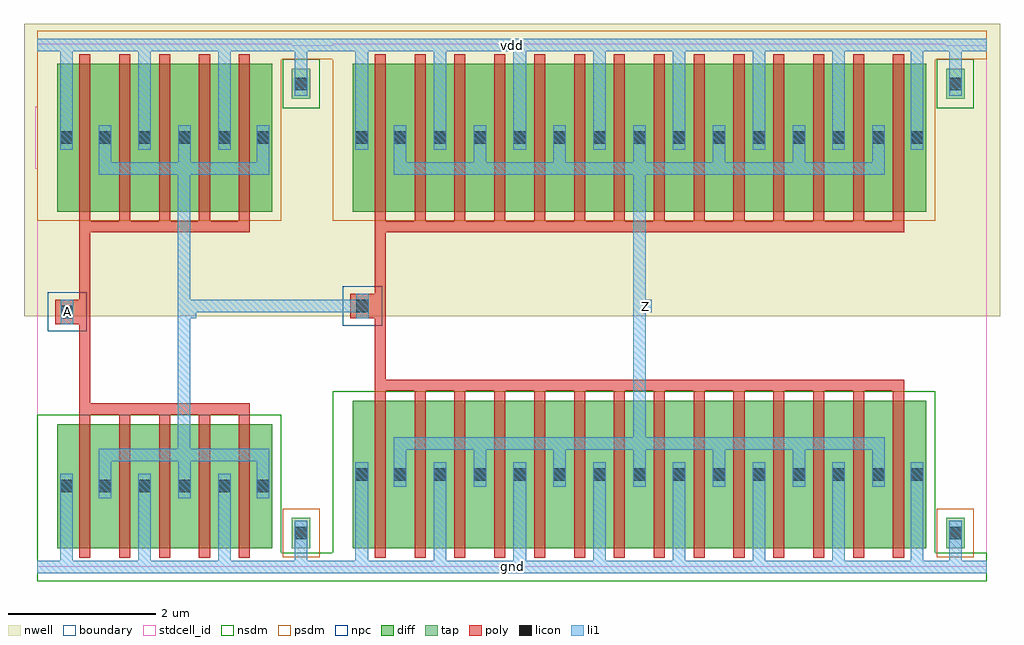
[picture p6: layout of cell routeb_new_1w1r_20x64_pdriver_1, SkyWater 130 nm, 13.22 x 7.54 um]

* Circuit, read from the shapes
.subckt routeb_new_1w1r_20x64_pdriver_1 A Z gnd vdd
XM1 routeb_new_1w1r_20x64_pinv_10_1/A A gnd gnd sky130_fd_pr__nfet_01v8 w=1.68 l=0.15 m=5
XM2 Z routeb_new_1w1r_20x64_pinv_10_1/A gnd gnd sky130_fd_pr__nfet_01v8 w=2 l=0.15 m=14
XM3 routeb_new_1w1r_20x64_pinv_10_1/A A vdd vdd sky130_fd_pr__pfet_01v8 w=2 l=0.15 m=5
XM4 Z routeb_new_1w1r_20x64_pinv_10_1/A vdd vdd sky130_fd_pr__pfet_01v8 w=2 l=0.15 m=14
.ends

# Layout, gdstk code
import gdstk
lib = gdstk.Library(unit=1e-6, precision=1e-09)
def R(c, l, rs):  # rectangles x0, y0, x1, y1
    for r in rs: c.add(gdstk.rectangle(r[:2], r[2:], *l))
def A(c, l, x, y, w, h, nx, ny, dx, dy):  # array of equal rectangles
    R(c, l, [(x+i*dx, y+j*dy, x+i*dx+w, y+j*dy+h) for i in range(nx) for j in range(ny)])
nwell = (64, 20)
diff = (65, 20)
tap = (65, 44)
poly = (66, 20)
licon = (66, 44)
li1 = (67, 20)
stdcell_id = (81, 4)
nsdm = (93, 44)
psdm = (94, 20)
npc = (95, 20)
boundary = (235, 4)

routeb_new_1w1r_20x64_co = lib.new_cell('routeb_new_1w1r_20x64_contact_11')
R(routeb_new_1w1r_20x64_co, nwell, [(-0.295,-0.255,0.545,0.585)])
R(routeb_new_1w1r_20x64_co, diff, [(0,0.02,0.25,0.31)])
R(routeb_new_1w1r_20x64_co, licon, [(0.04,0.08,0.21,0.25)])
R(routeb_new_1w1r_20x64_co, li1, [(0.04,0,0.21,0.33)])
R(routeb_new_1w1r_20x64_co, stdcell_id, [(-0.295,-0.255,0.545,0.585)])
R(routeb_new_1w1r_20x64_co, psdm, [(-0.125,-0.105,0.375,0.435)])
R(routeb_new_1w1r_20x64_co, boundary, [(-0.295,-0.255,0.545,0.585)])

routeb_new_1w1r_20x64_pm = lib.new_cell('routeb_new_1w1r_20x64_pmos_m5_w2_000_sli_dli_da_p')
R(routeb_new_1w1r_20x64_pm, nwell, [(-0.27,-0.27,3.18,2.27)])
R(routeb_new_1w1r_20x64_pm, diff, [(0,0,2.91,2)])
A(routeb_new_1w1r_20x64_pm, poly, 0.3, -0.13, 0.15, 2.26, 5, 1, 0.54, 0)
R(routeb_new_1w1r_20x64_pm, poly, [(0.3,-0.28,2.61,-0.13)])
R(routeb_new_1w1r_20x64_pm, li1, [(0.56,0.495,2.87,0.665), (0.56,0.58,0.73,1), (1.64,0.58,1.81,1), (2.7,0.58,2.87,1), (0.04,0.835,0.21,1.165), (1.1,0.835,1.27,1.165), (2.18,0.835,2.35,1.165)])
R(routeb_new_1w1r_20x64_pm, stdcell_id, [(-0.27,-0.28,3.18,2.27)])
R(routeb_new_1w1r_20x64_pm, psdm, [(-0.125,-0.125,3.035,2.125)])
R(routeb_new_1w1r_20x64_pm, boundary, [(-0.27,-0.28,3.18,2.27)])
routeb_new_1w1r_20x64_pm.add(gdstk.Reference(routeb_new_1w1r_20x64_co, (0,0.835)))
routeb_new_1w1r_20x64_pm.add(gdstk.Reference(routeb_new_1w1r_20x64_co, (0.52,0.835)))
routeb_new_1w1r_20x64_pm.add(gdstk.Reference(routeb_new_1w1r_20x64_co, (1.06,0.835)))
routeb_new_1w1r_20x64_pm.add(gdstk.Reference(routeb_new_1w1r_20x64_co, (1.6,0.835)))
routeb_new_1w1r_20x64_pm.add(gdstk.Reference(routeb_new_1w1r_20x64_co, (2.14,0.835)))
routeb_new_1w1r_20x64_pm.add(gdstk.Reference(routeb_new_1w1r_20x64_co, (2.66,0.835)))
routeb_new_1w1r_20x64_pm.add(gdstk.Label('G', (1.455,-0.205), layer=66, texttype=5))
routeb_new_1w1r_20x64_pm.add(gdstk.Label('S', (1.185,1), layer=67, texttype=5))
routeb_new_1w1r_20x64_pm.add(gdstk.Label('S', (0.125,1), layer=67, texttype=5))
routeb_new_1w1r_20x64_pm.add(gdstk.Label('S', (2.265,1), layer=67, texttype=5))
routeb_new_1w1r_20x64_pm.add(gdstk.Label('D', (1.715,0.58), layer=67, texttype=5))

c_routeb_new_1w1r_20x64_co = lib.new_cell('routeb_new_1w1r_20x64_contact_10')
R(c_routeb_new_1w1r_20x64_co, diff, [(0,0.02,0.25,0.31)])
R(c_routeb_new_1w1r_20x64_co, licon, [(0.04,0.08,0.21,0.25)])
R(c_routeb_new_1w1r_20x64_co, li1, [(0.04,0,0.21,0.33)])
R(c_routeb_new_1w1r_20x64_co, stdcell_id, [(-0.125,-0.105,0.375,0.435)])
R(c_routeb_new_1w1r_20x64_co, nsdm, [(-0.125,-0.105,0.375,0.435)])
R(c_routeb_new_1w1r_20x64_co, boundary, [(-0.125,-0.105,0.375,0.435)])

routeb_new_1w1r_20x64_nm = lib.new_cell('routeb_new_1w1r_20x64_nmos_m5_w1_680_sli_dli_da_p')
R(routeb_new_1w1r_20x64_nm, diff, [(0,0,2.91,1.68)])
A(routeb_new_1w1r_20x64_nm, poly, 0.3, -0.13, 0.15, 1.94, 5, 1, 0.54, 0)
R(routeb_new_1w1r_20x64_nm, poly, [(0.3,1.81,2.61,1.96)])
R(routeb_new_1w1r_20x64_nm, li1, [(0.04,0.675,0.21,1.005), (1.1,0.675,1.27,1.005), (2.18,0.675,2.35,1.005), (0.56,0.84,0.73,1.26), (1.64,0.84,1.81,1.26), (2.7,0.84,2.87,1.26), (0.56,1.175,2.87,1.345)])
R(routeb_new_1w1r_20x64_nm, stdcell_id, [(-0.125,-0.13,3.035,1.96)])
R(routeb_new_1w1r_20x64_nm, nsdm, [(-0.125,-0.125,3.035,1.805)])
R(routeb_new_1w1r_20x64_nm, boundary, [(-0.125,-0.13,3.035,1.96)])
routeb_new_1w1r_20x64_nm.add(gdstk.Reference(c_routeb_new_1w1r_20x64_co, (0,0.675)))
routeb_new_1w1r_20x64_nm.add(gdstk.Reference(c_routeb_new_1w1r_20x64_co, (0.52,0.675)))
routeb_new_1w1r_20x64_nm.add(gdstk.Reference(c_routeb_new_1w1r_20x64_co, (1.06,0.675)))
routeb_new_1w1r_20x64_nm.add(gdstk.Reference(c_routeb_new_1w1r_20x64_co, (1.6,0.675)))
routeb_new_1w1r_20x64_nm.add(gdstk.Reference(c_routeb_new_1w1r_20x64_co, (2.14,0.675)))
routeb_new_1w1r_20x64_nm.add(gdstk.Reference(c_routeb_new_1w1r_20x64_co, (2.66,0.675)))
routeb_new_1w1r_20x64_nm.add(gdstk.Label('G', (1.455,1.885), layer=66, texttype=5))
routeb_new_1w1r_20x64_nm.add(gdstk.Label('S', (0.125,0.84), layer=67, texttype=5))
routeb_new_1w1r_20x64_nm.add(gdstk.Label('S', (1.185,0.84), layer=67, texttype=5))
routeb_new_1w1r_20x64_nm.add(gdstk.Label('S', (2.265,0.84), layer=67, texttype=5))
routeb_new_1w1r_20x64_nm.add(gdstk.Label('D', (1.715,1.26), layer=67, texttype=5))

c_routeb_new_1w1r_20x64_co_ = lib.new_cell('routeb_new_1w1r_20x64_contact_24')
R(c_routeb_new_1w1r_20x64_co_, nwell, [(-0.295,-0.215,0.545,0.625)])
R(c_routeb_new_1w1r_20x64_co_, tap, [(0,0,0.25,0.41)])
R(c_routeb_new_1w1r_20x64_co_, licon, [(0.04,0.12,0.21,0.29)])
R(c_routeb_new_1w1r_20x64_co_, li1, [(0.04,0.04,0.21,0.37)])
R(c_routeb_new_1w1r_20x64_co_, stdcell_id, [(-0.295,-0.215,0.545,0.625)])
R(c_routeb_new_1w1r_20x64_co_, nsdm, [(-0.125,-0.125,0.375,0.535)])
R(c_routeb_new_1w1r_20x64_co_, boundary, [(-0.295,-0.215,0.545,0.625)])

c_routeb_new_1w1r_20x64_co__ = lib.new_cell('routeb_new_1w1r_20x64_contact_25')
R(c_routeb_new_1w1r_20x64_co__, tap, [(0,0,0.25,0.41)])
R(c_routeb_new_1w1r_20x64_co__, licon, [(0.04,0.12,0.21,0.29)])
R(c_routeb_new_1w1r_20x64_co__, li1, [(0.04,0.04,0.21,0.37)])
R(c_routeb_new_1w1r_20x64_co__, stdcell_id, [(-0.125,-0.125,0.375,0.535)])
R(c_routeb_new_1w1r_20x64_co__, psdm, [(-0.125,-0.125,0.375,0.535)])
R(c_routeb_new_1w1r_20x64_co__, boundary, [(-0.125,-0.125,0.375,0.535)])

c_routeb_new_1w1r_20x64_co___ = lib.new_cell('routeb_new_1w1r_20x64_contact_15')
R(c_routeb_new_1w1r_20x64_co___, poly, [(0,0,0.33,0.33)])
R(c_routeb_new_1w1r_20x64_co___, licon, [(0.08,0.08,0.25,0.25)])
R(c_routeb_new_1w1r_20x64_co___, li1, [(0.08,0,0.25,0.33)])
R(c_routeb_new_1w1r_20x64_co___, stdcell_id, [(-0.1,-0.1,0.43,0.43)])
R(c_routeb_new_1w1r_20x64_co___, npc, [(-0.1,-0.1,0.43,0.43)])
R(c_routeb_new_1w1r_20x64_co___, boundary, [(-0.1,-0.1,0.43,0.43)])

routeb_new_1w1r_20x64_pi = lib.new_cell('routeb_new_1w1r_20x64_pinv_9')
R(routeb_new_1w1r_20x64_pi, nwell, [(-0.18,3.395,4.18,7.355)])
R(routeb_new_1w1r_20x64_pi, poly, [(0.57,2.215,0.72,4.535), (0.405,3.29,0.57,3.62)])
R(routeb_new_1w1r_20x64_pi, li1, [(0,-0.085,4,0.085), (0.31,-0.085,0.48,0.93), (1.37,-0.085,1.54,0.93), (2.45,-0.085,2.62,0.93), (3.49,0,3.66,0.46), (1.9,1.43,2.07,5.48), (0.32,3.29,0.49,3.62), (1.985,3.37,2.155,3.54), (0.31,5.65,0.48,7.155), (1.37,5.65,1.54,7.155), (2.45,5.65,2.62,7.155), (3.49,6.545,3.66,7.07), (0,6.985,4,7.155)])
R(routeb_new_1w1r_20x64_pi, stdcell_id, [(0,0,4,7.07), (0,0,4,7.07)])
R(routeb_new_1w1r_20x64_pi, nsdm, [(0,-0.19,4,0.19), (0,0,3.305,2.06)])
R(routeb_new_1w1r_20x64_pi, psdm, [(0,4.69,3.305,7.07), (0,6.88,4,7.26)])
R(routeb_new_1w1r_20x64_pi, boundary, [(0,0,4,7.07), (0,0,4,7.07)])
routeb_new_1w1r_20x64_pi.add(gdstk.Reference(routeb_new_1w1r_20x64_pm, (0.27,4.815)))
routeb_new_1w1r_20x64_pi.add(gdstk.Reference(routeb_new_1w1r_20x64_nm, (0.27,0.255)))
routeb_new_1w1r_20x64_pi.add(gdstk.Reference(c_routeb_new_1w1r_20x64_co_, (3.45,6.34)))
routeb_new_1w1r_20x64_pi.add(gdstk.Reference(c_routeb_new_1w1r_20x64_co__, (3.45,0.255)))
routeb_new_1w1r_20x64_pi.add(gdstk.Reference(c_routeb_new_1w1r_20x64_co___, (0.24,3.29)))
routeb_new_1w1r_20x64_pi.add(gdstk.Label('A', (0.405,3.455), layer=67, texttype=5))
routeb_new_1w1r_20x64_pi.add(gdstk.Label('Z', (2.07,3.455), layer=67, texttype=5))
routeb_new_1w1r_20x64_pi.add(gdstk.Label('gnd', (2,0), layer=67, texttype=5))
routeb_new_1w1r_20x64_pi.add(gdstk.Label('vdd', (2,7.07), layer=67, texttype=5))

c_routeb_new_1w1r_20x64_pm = lib.new_cell('routeb_new_1w1r_20x64_pmos_m14_w2_000_sli_dli_da_p')
R(c_routeb_new_1w1r_20x64_pm, nwell, [(-0.27,-0.27,8.04,2.27)])
R(c_routeb_new_1w1r_20x64_pm, diff, [(0,0,7.77,2)])
A(c_routeb_new_1w1r_20x64_pm, poly, 0.3, -0.13, 0.15, 2.26, 14, 1, 0.54, 0)
R(c_routeb_new_1w1r_20x64_pm, poly, [(0.3,-0.28,7.47,-0.13)])
A(c_routeb_new_1w1r_20x64_pm, li1, 0.56, 0.58, 0.17, 0.42, 7, 1, 1.08, 0)
A(c_routeb_new_1w1r_20x64_pm, li1, 1.1, 0.835, 0.17, 0.33, 6, 1, 1.08, 0)
R(c_routeb_new_1w1r_20x64_pm, li1, [(0.56,0.495,7.21,0.665), (0.04,0.835,0.21,1.165), (7.56,0.835,7.73,1.165)])
R(c_routeb_new_1w1r_20x64_pm, stdcell_id, [(-0.27,-0.28,8.04,2.27)])
R(c_routeb_new_1w1r_20x64_pm, psdm, [(-0.125,-0.125,7.895,2.125)])
R(c_routeb_new_1w1r_20x64_pm, boundary, [(-0.27,-0.28,8.04,2.27)])
c_routeb_new_1w1r_20x64_pm.add(gdstk.Reference(routeb_new_1w1r_20x64_co, (0,0.835)))
c_routeb_new_1w1r_20x64_pm.add(gdstk.Reference(routeb_new_1w1r_20x64_co, (0.52,0.835)))
c_routeb_new_1w1r_20x64_pm.add(gdstk.Reference(routeb_new_1w1r_20x64_co, (1.06,0.835)))
c_routeb_new_1w1r_20x64_pm.add(gdstk.Reference(routeb_new_1w1r_20x64_co, (1.6,0.835)))
c_routeb_new_1w1r_20x64_pm.add(gdstk.Reference(routeb_new_1w1r_20x64_co, (2.14,0.835)))
c_routeb_new_1w1r_20x64_pm.add(gdstk.Reference(routeb_new_1w1r_20x64_co, (2.68,0.835)))
c_routeb_new_1w1r_20x64_pm.add(gdstk.Reference(routeb_new_1w1r_20x64_co, (3.22,0.835)))
c_routeb_new_1w1r_20x64_pm.add(gdstk.Reference(routeb_new_1w1r_20x64_co, (3.76,0.835)))
c_routeb_new_1w1r_20x64_pm.add(gdstk.Reference(routeb_new_1w1r_20x64_co, (4.3,0.835)))
c_routeb_new_1w1r_20x64_pm.add(gdstk.Reference(routeb_new_1w1r_20x64_co, (4.84,0.835)))
c_routeb_new_1w1r_20x64_pm.add(gdstk.Reference(routeb_new_1w1r_20x64_co, (5.38,0.835)))
c_routeb_new_1w1r_20x64_pm.add(gdstk.Reference(routeb_new_1w1r_20x64_co, (5.92,0.835)))
c_routeb_new_1w1r_20x64_pm.add(gdstk.Reference(routeb_new_1w1r_20x64_co, (6.46,0.835)))
c_routeb_new_1w1r_20x64_pm.add(gdstk.Reference(routeb_new_1w1r_20x64_co, (7,0.835)))
c_routeb_new_1w1r_20x64_pm.add(gdstk.Reference(routeb_new_1w1r_20x64_co, (7.52,0.835)))
c_routeb_new_1w1r_20x64_pm.add(gdstk.Label('G', (3.885,-0.205), layer=66, texttype=5))
c_routeb_new_1w1r_20x64_pm.add(gdstk.Label('S', (6.585,1), layer=67, texttype=5))
c_routeb_new_1w1r_20x64_pm.add(gdstk.Label('S', (2.265,1), layer=67, texttype=5))
c_routeb_new_1w1r_20x64_pm.add(gdstk.Label('S', (3.345,1), layer=67, texttype=5))
c_routeb_new_1w1r_20x64_pm.add(gdstk.Label('S', (7.645,1), layer=67, texttype=5))
c_routeb_new_1w1r_20x64_pm.add(gdstk.Label('S', (1.185,1), layer=67, texttype=5))
c_routeb_new_1w1r_20x64_pm.add(gdstk.Label('S', (0.125,1), layer=67, texttype=5))
c_routeb_new_1w1r_20x64_pm.add(gdstk.Label('S', (5.505,1), layer=67, texttype=5))
c_routeb_new_1w1r_20x64_pm.add(gdstk.Label('S', (4.425,1), layer=67, texttype=5))
c_routeb_new_1w1r_20x64_pm.add(gdstk.Label('D', (3.885,0.58), layer=67, texttype=5))

c_routeb_new_1w1r_20x64_nm = lib.new_cell('routeb_new_1w1r_20x64_nmos_m14_w2_000_sli_dli_da_p')
R(c_routeb_new_1w1r_20x64_nm, diff, [(0,0,7.77,2)])
A(c_routeb_new_1w1r_20x64_nm, poly, 0.3, -0.13, 0.15, 2.26, 14, 1, 0.54, 0)
R(c_routeb_new_1w1r_20x64_nm, poly, [(0.3,2.13,7.47,2.28)])
A(c_routeb_new_1w1r_20x64_nm, li1, 1.1, 0.835, 0.17, 0.33, 6, 1, 1.08, 0)
A(c_routeb_new_1w1r_20x64_nm, li1, 0.56, 1, 0.17, 0.42, 7, 1, 1.08, 0)
R(c_routeb_new_1w1r_20x64_nm, li1, [(0.04,0.835,0.21,1.165), (7.56,0.835,7.73,1.165), (0.56,1.335,7.21,1.505)])
R(c_routeb_new_1w1r_20x64_nm, stdcell_id, [(-0.125,-0.13,7.895,2.28)])
R(c_routeb_new_1w1r_20x64_nm, nsdm, [(-0.125,-0.125,7.895,2.125)])
R(c_routeb_new_1w1r_20x64_nm, boundary, [(-0.125,-0.13,7.895,2.28)])
c_routeb_new_1w1r_20x64_nm.add(gdstk.Reference(c_routeb_new_1w1r_20x64_co, (0,0.835)))
c_routeb_new_1w1r_20x64_nm.add(gdstk.Reference(c_routeb_new_1w1r_20x64_co, (0.52,0.835)))
c_routeb_new_1w1r_20x64_nm.add(gdstk.Reference(c_routeb_new_1w1r_20x64_co, (1.06,0.835)))
c_routeb_new_1w1r_20x64_nm.add(gdstk.Reference(c_routeb_new_1w1r_20x64_co, (1.6,0.835)))
c_routeb_new_1w1r_20x64_nm.add(gdstk.Reference(c_routeb_new_1w1r_20x64_co, (2.14,0.835)))
c_routeb_new_1w1r_20x64_nm.add(gdstk.Reference(c_routeb_new_1w1r_20x64_co, (2.68,0.835)))
c_routeb_new_1w1r_20x64_nm.add(gdstk.Reference(c_routeb_new_1w1r_20x64_co, (3.22,0.835)))
c_routeb_new_1w1r_20x64_nm.add(gdstk.Reference(c_routeb_new_1w1r_20x64_co, (3.76,0.835)))
c_routeb_new_1w1r_20x64_nm.add(gdstk.Reference(c_routeb_new_1w1r_20x64_co, (4.3,0.835)))
c_routeb_new_1w1r_20x64_nm.add(gdstk.Reference(c_routeb_new_1w1r_20x64_co, (4.84,0.835)))
c_routeb_new_1w1r_20x64_nm.add(gdstk.Reference(c_routeb_new_1w1r_20x64_co, (5.38,0.835)))
c_routeb_new_1w1r_20x64_nm.add(gdstk.Reference(c_routeb_new_1w1r_20x64_co, (5.92,0.835)))
c_routeb_new_1w1r_20x64_nm.add(gdstk.Reference(c_routeb_new_1w1r_20x64_co, (6.46,0.835)))
c_routeb_new_1w1r_20x64_nm.add(gdstk.Reference(c_routeb_new_1w1r_20x64_co, (7,0.835)))
c_routeb_new_1w1r_20x64_nm.add(gdstk.Reference(c_routeb_new_1w1r_20x64_co, (7.52,0.835)))
c_routeb_new_1w1r_20x64_nm.add(gdstk.Label('G', (3.885,2.205), layer=66, texttype=5))
c_routeb_new_1w1r_20x64_nm.add(gdstk.Label('S', (6.585,1), layer=67, texttype=5))
c_routeb_new_1w1r_20x64_nm.add(gdstk.Label('S', (2.265,1), layer=67, texttype=5))
c_routeb_new_1w1r_20x64_nm.add(gdstk.Label('S', (3.345,1), layer=67, texttype=5))
c_routeb_new_1w1r_20x64_nm.add(gdstk.Label('S', (7.645,1), layer=67, texttype=5))
c_routeb_new_1w1r_20x64_nm.add(gdstk.Label('S', (1.185,1), layer=67, texttype=5))
c_routeb_new_1w1r_20x64_nm.add(gdstk.Label('S', (0.125,1), layer=67, texttype=5))
c_routeb_new_1w1r_20x64_nm.add(gdstk.Label('S', (5.505,1), layer=67, texttype=5))
c_routeb_new_1w1r_20x64_nm.add(gdstk.Label('S', (4.425,1), layer=67, texttype=5))
c_routeb_new_1w1r_20x64_nm.add(gdstk.Label('D', (3.885,1.42), layer=67, texttype=5))

c_routeb_new_1w1r_20x64_pi = lib.new_cell('routeb_new_1w1r_20x64_pinv_10')
R(c_routeb_new_1w1r_20x64_pi, nwell, [(-0.18,3.395,9.04,7.355)])
R(c_routeb_new_1w1r_20x64_pi, poly, [(0.57,2.535,0.72,4.535), (0.405,3.37,0.57,3.7)])
A(c_routeb_new_1w1r_20x64_pi, li1, 1.37, -0.085, 0.17, 1.175, 6, 1, 1.08, 0)
A(c_routeb_new_1w1r_20x64_pi, li1, 1.37, 5.65, 0.17, 1.505, 6, 1, 1.08, 0)
R(c_routeb_new_1w1r_20x64_pi, li1, [(0,-0.085,8.86,0.085), (0.31,-0.085,0.48,1.09), (7.83,-0.085,8,1.09), (8.35,0,8.52,0.46), (4.07,1.59,4.24,5.48), (0.32,3.37,0.49,3.7), (4.155,3.45,4.325,3.62), (0.31,5.65,0.48,7.155), (7.83,5.65,8,7.155), (8.35,6.545,8.52,7.07), (0,6.985,8.86,7.155)])
R(c_routeb_new_1w1r_20x64_pi, stdcell_id, [(0,0,8.86,7.07), (0,0,8.86,7.07)])
R(c_routeb_new_1w1r_20x64_pi, nsdm, [(0,-0.19,8.86,0.19), (0,0,8.165,2.38)])
R(c_routeb_new_1w1r_20x64_pi, psdm, [(0,4.69,8.165,7.07), (0,6.88,8.86,7.26)])
R(c_routeb_new_1w1r_20x64_pi, boundary, [(0,0,8.86,7.07), (0,0,8.86,7.07)])
c_routeb_new_1w1r_20x64_pi.add(gdstk.Reference(c_routeb_new_1w1r_20x64_pm, (0.27,4.815)))
c_routeb_new_1w1r_20x64_pi.add(gdstk.Reference(c_routeb_new_1w1r_20x64_nm, (0.27,0.255)))
c_routeb_new_1w1r_20x64_pi.add(gdstk.Reference(c_routeb_new_1w1r_20x64_co_, (8.31,6.34)))
c_routeb_new_1w1r_20x64_pi.add(gdstk.Reference(c_routeb_new_1w1r_20x64_co__, (8.31,0.255)))
c_routeb_new_1w1r_20x64_pi.add(gdstk.Reference(c_routeb_new_1w1r_20x64_co___, (0.24,3.37)))
c_routeb_new_1w1r_20x64_pi.add(gdstk.Label('A', (0.405,3.535), layer=67, texttype=5))
c_routeb_new_1w1r_20x64_pi.add(gdstk.Label('Z', (4.24,3.535), layer=67, texttype=5))
c_routeb_new_1w1r_20x64_pi.add(gdstk.Label('gnd', (4.43,0), layer=67, texttype=5))
c_routeb_new_1w1r_20x64_pi.add(gdstk.Label('vdd', (4.43,7.07), layer=67, texttype=5))

routeb_new_1w1r_20x64_pd = lib.new_cell('routeb_new_1w1r_20x64_pdriver_1')
R(routeb_new_1w1r_20x64_pd, nwell, [(-0.18,3.395,13.04,7.355)])
R(routeb_new_1w1r_20x64_pd, li1, [(0,-0.085,12.86,0.085), (0.32,3.29,0.49,3.62), (1.985,3.45,2.155,3.62), (2.07,3.45,4.405,3.62), (8.155,3.45,8.325,3.62), (1.985,3.455,2.155,3.535), (0,6.985,12.86,7.155)])
R(routeb_new_1w1r_20x64_pd, stdcell_id, [(0,0,12.86,7.07), (0,0,12.86,7.07)])
R(routeb_new_1w1r_20x64_pd, nsdm, [(0,-0.19,12.86,0.19)])
R(routeb_new_1w1r_20x64_pd, psdm, [(0,6.88,12.86,7.26)])
R(routeb_new_1w1r_20x64_pd, boundary, [(0,0,12.86,7.07), (0,0,12.86,7.07)])
routeb_new_1w1r_20x64_pd.add(gdstk.Reference(routeb_new_1w1r_20x64_pi, (0,0)))
routeb_new_1w1r_20x64_pd.add(gdstk.Reference(c_routeb_new_1w1r_20x64_pi, (4,0)))
routeb_new_1w1r_20x64_pd.add(gdstk.Label('Z', (8.24,3.535), layer=67, texttype=5))
routeb_new_1w1r_20x64_pd.add(gdstk.Label('A', (0.405,3.455), layer=67, texttype=5))
routeb_new_1w1r_20x64_pd.add(gdstk.Label('gnd', (6.43,0), layer=67, texttype=5))
routeb_new_1w1r_20x64_pd.add(gdstk.Label('vdd', (6.43,7.07), layer=67, texttype=5))

lib.write_gds('routeb_new_1w1r_20x64_pdriver_1.gds')
